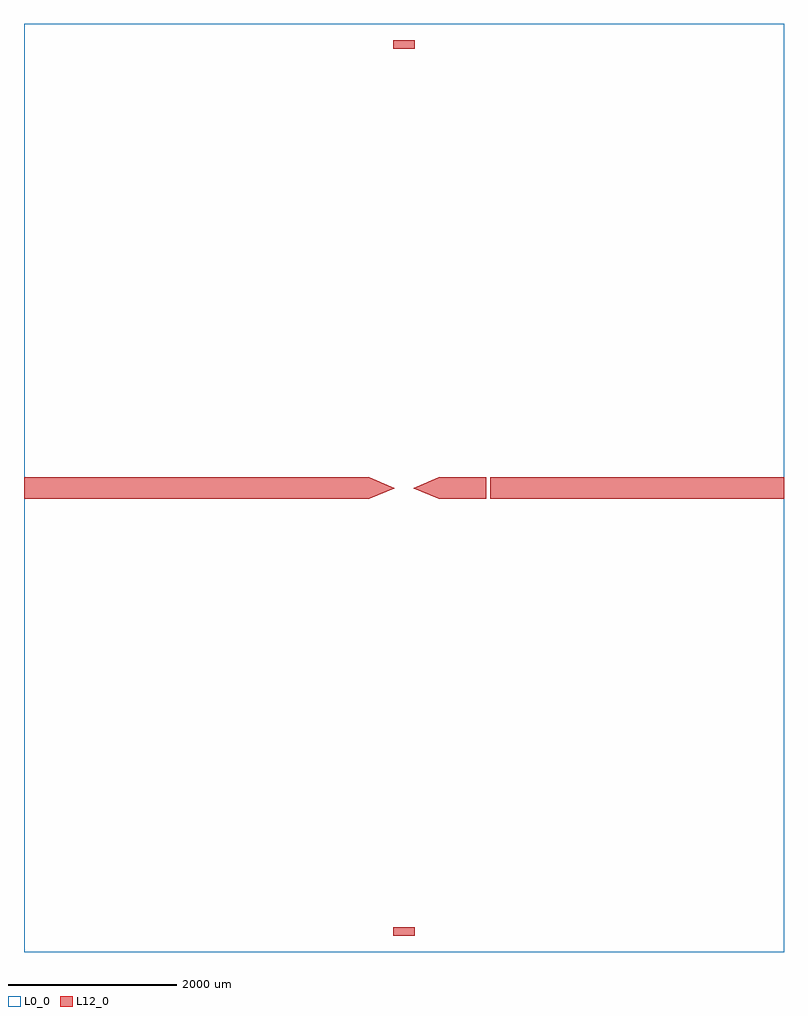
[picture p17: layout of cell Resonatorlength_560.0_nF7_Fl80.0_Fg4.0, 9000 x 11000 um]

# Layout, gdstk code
import gdstk
lib = gdstk.Library(unit=1e-6, precision=1e-09)
def R(c, l, rs):  # rectangles x0, y0, x1, y1
    for r in rs: c.add(gdstk.rectangle(r[:2], r[2:], *l))
def P(c, l, *ps):  # polygons
    for p in ps: c.add(gdstk.Polygon(p, *l))
L0_0 = (0, 0)
L12_0 = (12, 0)

resonatorlength_560_0_nf = lib.new_cell('Resonatorlength_560.0_nF7_Fl80.0_Fg4.0')
R(resonatorlength_560_0_nf, L0_0, [(-4500,-5500,4500,5500)])
R(resonatorlength_560_0_nf, L12_0, [(-125,-5300,125,-5200), (-4500,-125,-1056,125), (-1056,-125,-976,-92.714), (-972,-125,-412,125), (412,-125,972,125), (1022,-125,4500,125), (-1052,-88.714,-972,-56.429), (-1056,-52.429,-976,-20.143), (-1052,-16.143,-972,16.143), (-1056,20.143,-976,52.429), (-1052,56.429,-972,88.714), (-1056,92.714,-976,125), (-125,5200,125,5300)])
P(resonatorlength_560_0_nf, L12_0, [(-412,125),(-412,-125),(-108.5,0)],
  [(412,125),(412,-125),(108.5,0)])

lib.write_gds('Resonatorlength_560.0_nF7_Fl80.0_Fg4.0.gds')
